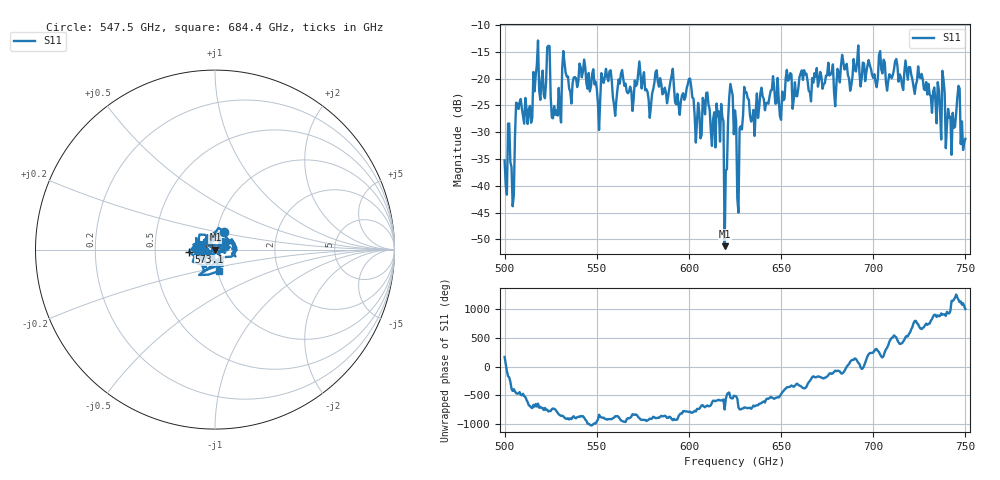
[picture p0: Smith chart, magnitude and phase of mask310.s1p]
!Created with skrf (http://scikit-rf.org).
# GHz S MA R 50.0
!freq magS11 angS11
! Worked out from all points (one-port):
!   401 points, 500 GHz to 750 GHz, reference 50 ohm
!   lowest |S11| = -51.3 dB at 619.4 GHz (marker M1), VSWR 1.01, Z = 50.2 - j0.116 ohm
!   |S11| at or under -10 dB: start of sweep to end of sweep
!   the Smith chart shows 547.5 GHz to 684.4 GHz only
!   S11 on the Smith chart (normalised r, x): 547.5 GHz: 1.09, +0.21; 573.1 GHz: 0.75, -0.02; 684.4 GHz: 1.02, -0.25
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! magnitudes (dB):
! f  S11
! 500 GHz  -35.2
! 504.4 GHz  -43.8
! 507.5 GHz  -25.7
! 513.8 GHz  -25.1
! 516.9 GHz  -19.4
! 523.8 GHz  -13.9
! 526.9 GHz  -25.1
! 531.2 GHz  -18.0
! 547.5 GHz  -19.1
! 562.5 GHz  -20.9
! 573.1 GHz  -16.8
! 593.8 GHz  -22.8
! 600 GHz  -20.1
! 605 GHz  -24.5
! 616.2 GHz  -26.1
! 619.4 GHz  -51.3
! 622.5 GHz  -21.0
! 625 GHz  -25.9
! 627.5 GHz  -29.3
! 631.2 GHz  -22.6
! 634.4 GHz  -27.5
! 656.2 GHz  -25.6
! 684.4 GHz  -18.3
! 687.5 GHz  -22.3
! 718.8 GHz  -20.2
! 743.1 GHz  -26.4
! 745.6 GHz  -23.5
! 750 GHz  -31.2
